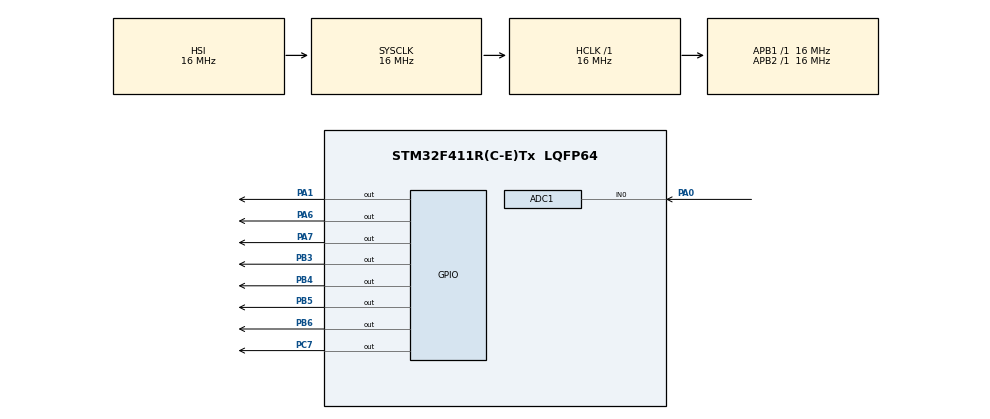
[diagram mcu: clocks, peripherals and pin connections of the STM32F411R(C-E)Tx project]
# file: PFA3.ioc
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ADC1.Channel-2\#ChannelRegularConversion=ADC_CHANNEL_0
ADC1.ClockPrescaler=ADC_CLOCK_SYNC_PCLK_DIV4
ADC1.NbrOfConversionFlag=1
ADC1.Rank-2\#ChannelRegularConversion=1
ADC1.SamplingTime-2\#ChannelRegularConversion=ADC_SAMPLETIME_3CYCLES
ADC1.master=1
FREERTOS.Queues01=Q_temp,1,float,0,Dynamic,NULL,NULL;Q_hum,1,float,0,Dynamic,NULL,NULL;Q_ppm,1,float,0,Dynamic,NULL,NULL
FREERTOS.Tasks01=defaultTask,0,128,StartDefaultTask,Default,NULL,Dynamic,NULL,NULL;LCD_init,0,128,LCD,Default,NULL,Dynamic,NULL,NULL;MQ_init,0,128,MQ,Default,NULL,Dynamic,NULL,NULL;DHT_init,0,128,DHT,Default,NULL,Dynamic,NULL,NULL;Buzzer_init,0,128,Buzzer,Default,NULL,Dynamic,NULL,NULL
FREERTOS.configUSE_NEWLIB_REENTRANT=1
Mcu.Family=STM32F4
Mcu.Name=STM32F411R(C-E)Tx
Mcu.Package=LQFP64
NVIC.PriorityGroup=NVIC_PRIORITYGROUP_4
NVIC.TIM1_UP_TIM10_IRQn=true\:15\:0\:false\:false\:true\:false\:false\:true\:true
NVIC.TimeBase=TIM1_UP_TIM10_IRQn
NVIC.TimeBaseIP=TIM1
PA0-WKUP.Signal=ADCx_IN0
PA1.Signal=GPIO_Output
PA6.Signal=GPIO_Output
PA7.Signal=GPIO_Output
PB3.Signal=GPIO_Output
PB4.Signal=GPIO_Output
PB5.Signal=GPIO_Output
PB6.Signal=GPIO_Output
PC7.Signal=GPIO_Output
ProjectManager.HeapSize=0x200
ProjectManager.StackSize=0x400
ProjectManager.TargetToolchain=STM32CubeIDE
RCC.AHBFreq_Value=16000000
RCC.APB1Freq_Value=16000000
RCC.APB2Freq_Value=16000000
RCC.CortexFreq_Value=16000000
RCC.HSE_VALUE=25000000
RCC.HSI_VALUE=16000000
RCC.LSE_VALUE=32768
RCC.SYSCLKFreq_VALUE=16000000
RCC.VCOOutputFreq_Value=192000000
SH.ADCx_IN0.0=ADC1_IN0,IN0
VP_FREERTOS_VS_CMSIS_V1.Mode=CMSIS_V1
VP_SYS_VS_tim1.Mode=TIM1
VP_TIM10_VS_ClockSourceINT.Mode=Enable_Timer
board=custom

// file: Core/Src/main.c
/* USER CODE BEGIN Header */
/** the temp tensor
  ******************************************************************************
  * @file           : main.c
  * @brief          : Main program body
  ******************************************************************************
  * @attention
  *
  * Copyright (c) 2025 STMicroelectronics.
  * All rights reserved.
  *
  * This software is licensed under terms that can be found in the LICENSE file
  * in the root directory of this software component.
  * If no LICENSE file comes with this software, it is provided AS-IS.
  *
  ******************************************************************************
  */
/* USER CODE END Header */
#include "main.h"
#include "cmsis_os.h"

/* USER CODE BEGIN Includes */
#include "DHT22.h"
#include "lcd.h"
#include "MQ135.h"
#include "stdio.h"
/* USER CODE END Includes */

ADC_HandleTypeDef hadc1;

TIM_HandleTypeDef htim10;

osThreadId defaultTaskHandle;
osThreadId LCD_initHandle;
osThreadId MQ_initHandle;
osThreadId DHT_initHandle;
osThreadId Buzzer_initHandle;
osMessageQId Q_tempHandle;
osMessageQId Q_humHandle;
osMessageQId Q_ppmHandle;

void SystemClock_Config(void);
static void MX_GPIO_Init(void);
static void MX_TIM10_Init(void);
static void MX_ADC1_Init(void);
void StartDefaultTask(void const * argument);
void LCD(void const * argument);
void MQ(void const * argument);
void DHT(void const * argument);
void Buzzer(void const * argument);

/* USER CODE BEGIN 0 */
float Tempurature = 0 , Humidity = 0 ;
uint8_t status = 0 ;
float ppm;float received_ppm , received_temp,received_hum;
Lcd_HandleTypeDef lcd;
char buffer1[20],buffer2[20];
/* USER CODE END 0 */

int main(void)
{

  /* MCU Configuration--------------------------------------------------------*/

  /* Reset of all peripherals, Initializes the Flash interface and the Systick. */
  HAL_Init();

  /* Configure the system clock */
  SystemClock_Config();

  /* Initialize all configured peripherals */
  MX_GPIO_Init();
  MX_TIM10_Init();
  MX_ADC1_Init();
  /* USER CODE BEGIN 2 */
  MQ135_Init(&hadc1);
  HAL_TIM_Base_Start(&htim10);

  Lcd_PortType ports[] = { GPIOC, GPIOB, GPIOA, GPIOA };

  Lcd_PinType pins[] = {GPIO_PIN_7, GPIO_PIN_6, GPIO_PIN_7, GPIO_PIN_6};

  lcd = Lcd_create(ports, pins, GPIOB, GPIO_PIN_5, GPIOB, GPIO_PIN_4, LCD_4_BIT_MODE);
  Lcd_init(&lcd);
      HAL_Delay(1000);
      Lcd_clear(&lcd);
      Lcd_string(&lcd, "Ready to Test");
  /* USER CODE END 2 */

  /* Create the queue(s) */
  /* definition and creation of Q_temp */
  osMessageQDef(Q_temp, 1, float);
  Q_tempHandle = osMessageCreate(osMessageQ(Q_temp), NULL);

  /* definition and creation of Q_hum */
  osMessageQDef(Q_hum, 1, float);
  Q_humHandle = osMessageCreate(osMessageQ(Q_hum), NULL);

  /* definition and creation of Q_ppm */
  osMessageQDef(Q_ppm, 10, float);
  Q_ppmHandle = osMessageCreate(osMessageQ(Q_ppm), NULL);

  /* Create the thread(s) */
  /* definition and creation of defaultTask */
  osThreadDef(defaultTask, StartDefaultTask, osPriorityNormal, 0, 256);
  defaultTaskHandle = osThreadCreate(osThread(defaultTask), NULL);

  /* definition and creation of LCD_init */
  osThreadDef(LCD_init, LCD, osPriorityLow, 0, 256);
  LCD_initHandle = osThreadCreate(osThread(LCD_init), NULL);

  /* definition and creation of MQ_init */
  osThreadDef(MQ_init, MQ, osPriorityNormal, 0, 256);
  MQ_initHandle = osThreadCreate(osThread(MQ_init), NULL);

  /* definition and creation of DHT_init */
  osThreadDef(DHT_init, DHT, osPriorityNormal, 0, 256);
  DHT_initHandle = osThreadCreate(osThread(DHT_init), NULL);

  /* definition and creation of Buzzer_init */
  osThreadDef(Buzzer_init, Buzzer, osPriorityNormal, 0, 256);
  Buzzer_initHandle = osThreadCreate(osThread(Buzzer_init), NULL);

  /* Start scheduler */
  osKernelStart();

  /* We should never get here as control is now taken by the scheduler */

  /* Infinite loop */
  while (1)
  {

  }
}

void SystemClock_Config(void)
{
  RCC_OscInitTypeDef RCC_OscInitStruct = {0};
  RCC_ClkInitTypeDef RCC_ClkInitStruct = {0};

  /** Configure the main internal regulator output voltage
  */
  __HAL_RCC_PWR_CLK_ENABLE();
  __HAL_PWR_VOLTAGESCALING_CONFIG(PWR_REGULATOR_VOLTAGE_SCALE1);

  /** Initializes the RCC Oscillators according to the specified parameters
  * in the RCC_OscInitTypeDef structure.
  */
  RCC_OscInitStruct.OscillatorType = RCC_OSCILLATORTYPE_HSI;
  RCC_OscInitStruct.HSIState = RCC_HSI_ON;
  RCC_OscInitStruct.HSICalibrationValue = RCC_HSICALIBRATION_DEFAULT;
  RCC_OscInitStruct.PLL.PLLState = RCC_PLL_NONE;
  if (HAL_RCC_OscConfig(&RCC_OscInitStruct) != HAL_OK)
  {
    Error_Handler();
  }

  /** Initializes the CPU, AHB and APB buses clocks
  */
  RCC_ClkInitStruct.ClockType = RCC_CLOCKTYPE_HCLK|RCC_CLOCKTYPE_SYSCLK
                              |RCC_CLOCKTYPE_PCLK1|RCC_CLOCKTYPE_PCLK2;
  RCC_ClkInitStruct.SYSCLKSource = RCC_SYSCLKSOURCE_HSI;
  RCC_ClkInitStruct.AHBCLKDivider = RCC_SYSCLK_DIV1;
  RCC_ClkInitStruct.APB1CLKDivider = RCC_HCLK_DIV1;
  RCC_ClkInitStruct.APB2CLKDivider = RCC_HCLK_DIV1;

  if (HAL_RCC_ClockConfig(&RCC_ClkInitStruct, FLASH_LATENCY_0) != HAL_OK)
  {
    Error_Handler();
  }
}

static void MX_ADC1_Init(void)
{

  ADC_ChannelConfTypeDef sConfig = {0};

  /** Configure the global features of the ADC (Clock, Resolution, Data Alignment and number of conversion)
  */
  hadc1.Instance = ADC1;
  hadc1.Init.ClockPrescaler = ADC_CLOCK_SYNC_PCLK_DIV4;
  hadc1.Init.Resolution = ADC_RESOLUTION_12B;
  hadc1.Init.ScanConvMode = DISABLE;
  hadc1.Init.ContinuousConvMode = DISABLE;
  hadc1.Init.DiscontinuousConvMode = DISABLE;
  hadc1.Init.ExternalTrigConvEdge = ADC_EXTERNALTRIGCONVEDGE_NONE;
  hadc1.Init.ExternalTrigConv = ADC_SOFTWARE_START;
  hadc1.Init.DataAlign = ADC_DATAALIGN_RIGHT;
  hadc1.Init.NbrOfConversion = 1;
  hadc1.Init.DMAContinuousRequests = DISABLE;
  hadc1.Init.EOCSelection = ADC_EOC_SINGLE_CONV;
  if (HAL_ADC_Init(&hadc1) != HAL_OK)
  {
    Error_Handler();
  }

  /** Configure for the selected ADC regular channel its corresponding rank in the sequencer and its sample time.
  */
  sConfig.Channel = ADC_CHANNEL_0;
  sConfig.Rank = 1;
  sConfig.SamplingTime = ADC_SAMPLETIME_3CYCLES;
  if (HAL_ADC_ConfigChannel(&hadc1, &sConfig) != HAL_OK)
  {
    Error_Handler();
  }

}

static void MX_TIM10_Init(void)
{

  htim10.Instance = TIM10;
  htim10.Init.Prescaler = (SystemCoreClock/1000000)-1;
  htim10.Init.CounterMode = TIM_COUNTERMODE_UP;
  htim10.Init.Period = 65535;
  htim10.Init.ClockDivision = TIM_CLOCKDIVISION_DIV1;
  htim10.Init.AutoReloadPreload = TIM_AUTORELOAD_PRELOAD_DISABLE;
  if (HAL_TIM_Base_Init(&htim10) != HAL_OK)
  {
    Error_Handler();
  }

}

static void MX_GPIO_Init(void)
{
  GPIO_InitTypeDef GPIO_InitStruct = {0};

  /* GPIO Ports Clock Enable */
  __HAL_RCC_GPIOA_CLK_ENABLE();
  __HAL_RCC_GPIOC_CLK_ENABLE();
  __HAL_RCC_GPIOB_CLK_ENABLE();

  /*Configure GPIO pin Output Level */
  HAL_GPIO_WritePin(GPIOA, GPIO_PIN_1|GPIO_PIN_6|GPIO_PIN_7, GPIO_PIN_RESET);

  /*Configure GPIO pin Output Level */
  HAL_GPIO_WritePin(GPIOC, GPIO_PIN_7, GPIO_PIN_RESET);

  /*Configure GPIO pin Output Level */
  HAL_GPIO_WritePin(GPIOB, GPIO_PIN_3|GPIO_PIN_4|GPIO_PIN_5|GPIO_PIN_6, GPIO_PIN_RESET);

  /*Configure GPIO pins : PA1 PA6 PA7 */
  GPIO_InitStruct.Pin = GPIO_PIN_1|GPIO_PIN_6|GPIO_PIN_7;
  GPIO_InitStruct.Mode = GPIO_MODE_OUTPUT_PP;
  GPIO_InitStruct.Pull = GPIO_NOPULL;
  GPIO_InitStruct.Speed = GPIO_SPEED_FREQ_LOW;
  HAL_GPIO_Init(GPIOA, &GPIO_InitStruct);

  /*Configure GPIO pin : PC7 */
  GPIO_InitStruct.Pin = GPIO_PIN_7;
  GPIO_InitStruct.Mode = GPIO_MODE_OUTPUT_PP;
  GPIO_InitStruct.Pull = GPIO_NOPULL;
  GPIO_InitStruct.Speed = GPIO_SPEED_FREQ_LOW;
  HAL_GPIO_Init(GPIOC, &GPIO_InitStruct);

  /*Configure GPIO pins : PB3 PB4 PB5 PB6 */
  GPIO_InitStruct.Pin = GPIO_PIN_3|GPIO_PIN_4|GPIO_PIN_5|GPIO_PIN_6;
  GPIO_InitStruct.Mode = GPIO_MODE_OUTPUT_PP;
  GPIO_InitStruct.Pull = GPIO_NOPULL;
  GPIO_InitStruct.Speed = GPIO_SPEED_FREQ_LOW;
  HAL_GPIO_Init(GPIOB, &GPIO_InitStruct);

}

void StartDefaultTask(void const * argument)
{
  for(;;)
  {
    osDelay(1);
  }
}

void LCD(void const * argument)
{
 /* USER CODE BEGIN LCD */
 /* Infinite loop */
	  Lcd_PortType ports[] = { GPIOC, GPIOB, GPIOA, GPIOA };
	  Lcd_PinType pins[] = {GPIO_PIN_7, GPIO_PIN_6, GPIO_PIN_7, GPIO_PIN_6};
	  lcd = Lcd_create(ports, pins, GPIOB, GPIO_PIN_5, GPIOB, GPIO_PIN_4, LCD_4_BIT_MODE);
 for(;;)
 {

     osEvent evt1 = osMessageGet(Q_tempHandle, osWaitForever);
     osEvent evt2 = osMessageGet(Q_humHandle, osWaitForever);
     osEvent evt3 = osMessageGet(Q_ppmHandle, osWaitForever);
	     if (evt1.status == osEventMessage) received_temp = *((float*)&evt1.value.v);
	     if (evt2.status == osEventMessage) received_hum = *((float*)&evt2.value.v);
	     if (evt3.status == osEventMessage) received_ppm = *((float*)&evt3.value.v);
	     Lcd_clear(&lcd);
	     Lcd_cursor(&lcd, 0, 0);
	     sprintf(buffer1, "T:%.1f H:%.1f", received_temp, received_hum);
	     Lcd_string(&lcd, buffer1);
	     Lcd_cursor(&lcd, 1, 0);
	     sprintf(buffer2, "PPM:%.1f", received_ppm);
	     Lcd_string(&lcd, buffer2);
	     osDelay(1000);
 }
 /* USER CODE END LCD */
}

void MQ(void const * argument)
{
  /* USER CODE BEGIN MQ */
  /* Infinite loop */
  for(;;)
  {ppm = MQ135_ReadPPM();
  	osMessagePut(Q_ppmHandle,*(uint32_t*)&ppm, 100);
    osDelay(1000);
  }
  /* USER CODE END MQ */
}

void DHT(void const * argument)
{
  /* USER CODE BEGIN DHT */
  /* Infinite loop */
	HAL_Delay(2000);  // wait for DHT sensor startup

	    for(;;)
	    {
	        taskENTER_CRITICAL();
	        status = DHT22_Get_Reading(&Tempurature, &Humidity);
	        taskEXIT_CRITICAL();

	        if (status == 1) {
	            osMessagePut(Q_tempHandle, *(uint32_t*)&Tempurature, 100);
	            osMessagePut(Q_humHandle, *(uint32_t*)&Humidity, 100);
	        }

	        osDelay(2000);  // Wait before next read
	    } // Short delay before next attempt

  /* USER CODE END DHT */
}

void Buzzer(void const * argument)
{
  /* USER CODE BEGIN Buzzer */
  /* Infinite loop */
	for(;;) {
	    osEvent event = osMessageGet(Q_ppmHandle, 100);
	    if (event.status == osEventMessage) {  // ← Check if message is valid
	      received_ppm = *(float*)&event.value.v;
	      if (received_ppm > 265) {
	        HAL_GPIO_WritePin(GPIOB, GPIO_PIN_3, GPIO_PIN_SET);  // Buzzer ON
	      } else {
	        HAL_GPIO_WritePin(GPIOB, GPIO_PIN_3, GPIO_PIN_RESET); // Buzzer OFF
	      }
	    }
	    osDelay(1000);  // Optional: Adjust delay based on your needs
	  }
  /* USER CODE END Buzzer */
}

void HAL_TIM_PeriodElapsedCallback(TIM_HandleTypeDef *htim)
{
  if (htim->Instance == TIM1) {
    HAL_IncTick();
  }
}

void Error_Handler(void)
{
  __disable_irq();
  while (1)
  {
  }
}
